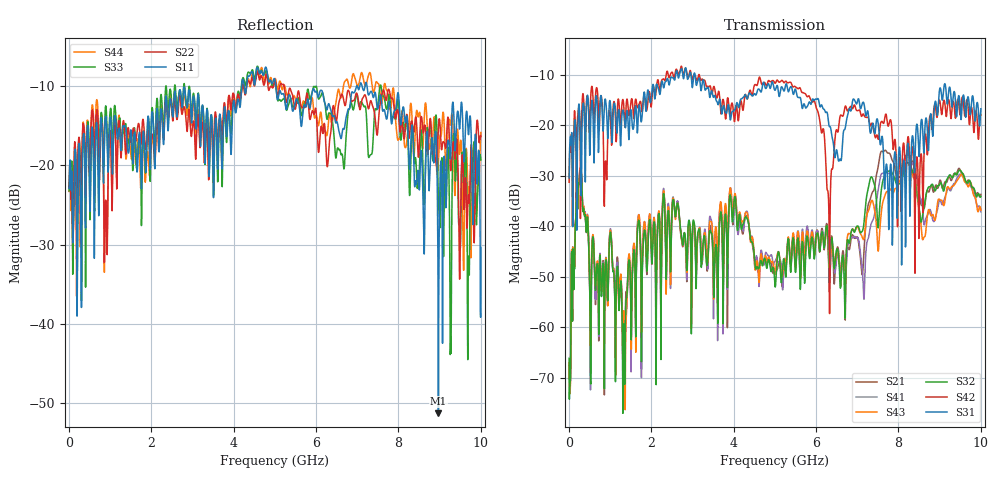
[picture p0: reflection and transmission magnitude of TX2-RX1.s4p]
# Hz S  RI  R 50
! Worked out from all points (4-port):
!   1601 points, 10 MHz to 10 GHz, reference 50 ohm
!   strongest paths, dB at 10 MHz, 2.507 GHz, 5.005 GHz, 7.503 GHz, 10 GHz:
!     S31: -30.5, -10.6, -13.1, -19.4, -16.8
!     S42: -31.3, -9.5, -11.7, -22.7, -18.0
!     S32: -66.2, -37.0, -51.8, -40.3, -34.2
!     S43: -67.1, -36.6, -49.5, -44.8, -36.9
!     S41: -69.8, -35.9, -47.0, -33.2, -37.2
!     S21: -67.6, -36.4, -49.4, -28.5, -33.8
!   lowest |S11| = -51.3 dB at 8.97 GHz (marker M1), VSWR 1.01, Z = 50.3 - j0.104 ohm
!   |S11| at or under -10 dB: start of sweep to 4.197 GHz; 5.027 GHz to 6.987 GHz (1.961 GHz wide, 32.6 % of centre); 7.237 GHz to end of sweep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
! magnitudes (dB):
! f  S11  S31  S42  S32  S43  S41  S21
! 10 MHz  -22.9  -30.5  -31.3  -66.2  -67.1  -69.8  -67.6
! 278.5 MHz  -21.8  -20.8  -25.4  -29.0  -28.7  -28.7  -29.0
! 1.34 GHz  -15.1  -17.9  -16.7  -59.4  -56.8  -58.3  -59.4
! 2.301 GHz  -17.4  -12.6  -10.9  -33.6  -33.0  -32.5  -33.1
! 6.304 GHz  -12.2  -19.5  -34.8  -45.3  -44.8  -45.2  -46.3
! 8.97 GHz  -51.3  -15.7  -15.9  -32.0  -34.7  -35.7  -32.2
! 10 GHz  -30.4  -16.8  -18.0  -34.2  -36.9  -37.2  -33.8
